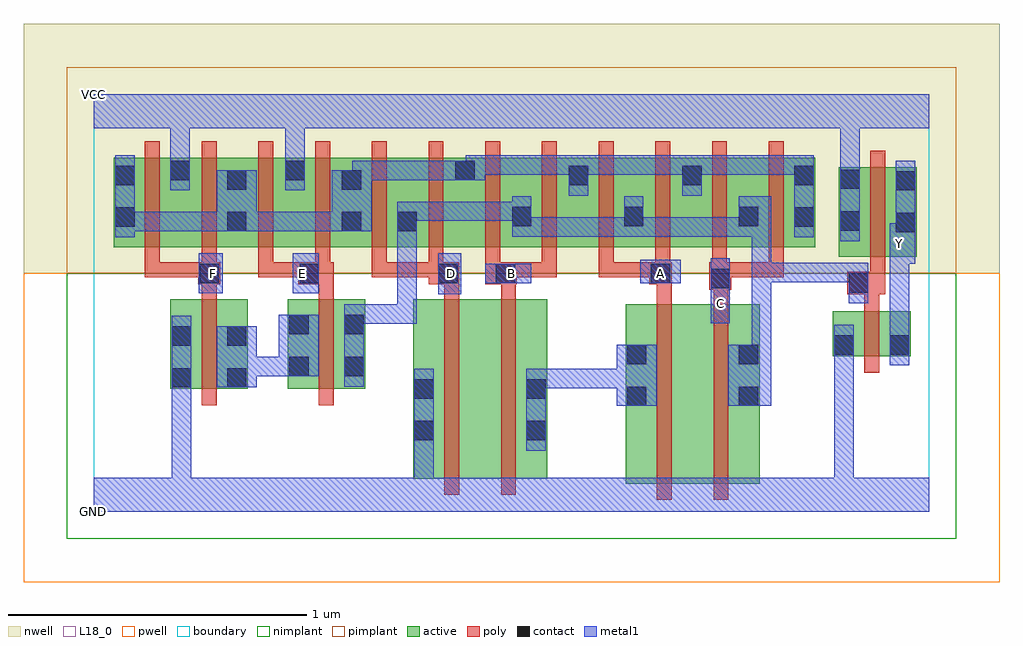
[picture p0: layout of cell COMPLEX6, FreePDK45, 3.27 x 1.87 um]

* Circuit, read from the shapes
.subckt COMPLEX6 A B C D E F GND VCC Y
M1 n1 F GND VSUBS nfet w=0.3u l=0.05u
M2 n2 E n1 VSUBS nfet w=0.3u l=0.05u
M3 n3 D GND VSUBS nfet w=0.6u l=0.05u
M4 n4 B n3 VSUBS nfet w=0.6u l=0.05u
M5 n5 A n4 VSUBS nfet w=0.6u l=0.05u
M6 n2 C n5 VSUBS nfet w=0.6u l=0.05u
M7 Y n2 GND VSUBS nfet w=0.15u l=0.05u
M8 VCC F n6 n7 pfet w=0.3u l=0.05u m=2
M9 VCC E n6 n7 pfet w=0.3u l=0.05u m=2
M10 n2 D n6 n7 pfet w=0.3u l=0.05u m=2
M11 n2 B n6 n7 pfet w=0.3u l=0.05u m=2
M12 n2 A n6 n7 pfet w=0.3u l=0.05u m=2
M13 n2 C n6 n7 pfet w=0.3u l=0.05u m=2
M14 Y n2 VCC n7 pfet w=0.3u l=0.05u
.ends

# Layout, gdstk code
import gdstk
lib = gdstk.Library(unit=1e-6, precision=1e-09)
def R(c, l, rs):  # rectangles x0, y0, x1, y1
    for r in rs: c.add(gdstk.rectangle(r[:2], r[2:], *l))
def A(c, l, x, y, w, h, nx, ny, dx, dy):  # array of equal rectangles
    R(c, l, [(x+i*dx, y+j*dy, x+i*dx+w, y+j*dy+h) for i in range(nx) for j in range(ny)])
active = (1, 0)
pwell = (2, 0)
nwell = (3, 0)
nimplant = (4, 0)
pimplant = (5, 0)
poly = (9, 0)
contact = (10, 0)
metal1 = (11, 0)
L18_0 = (18, 0)
boundary = (235, 0)

complex6 = lib.new_cell('COMPLEX6')
A(complex6, active, 0.067, 0.887, 0.26, 0.3, 3, 1, 0.76, 0)
R(complex6, active, [(1.782,0.095,2.007,0.695), (2.007,0.095,2.232,0.695), (1.07,0.112,1.295,0.712), (1.295,0.112,1.52,0.712), (1.07,0.145,1.145,0.712), (1.445,0.145,1.52,0.712), (1.782,0.145,1.887,0.695), (2.157,0.145,2.232,0.695), (0.257,0.412,0.517,0.712), (0.257,0.412,0.332,0.712), (0.442,0.412,0.517,0.712), (0.65,0.412,0.91,0.712), (0.65,0.445,0.725,0.712), (0.835,0.445,0.91,0.712), (2.477,0.522,2.552,0.672), (2.477,0.522,2.737,0.672), (2.662,0.522,2.737,0.672), (2.497,0.855,2.757,1.155), (2.497,0.855,2.572,1.155), (2.682,0.855,2.757,1.155), (0.067,0.887,0.142,1.187), (0.252,0.887,0.517,1.187), (0.442,0.887,0.517,1.167), (0.442,0.887,0.712,1.187), (0.637,0.887,0.902,1.187), (0.827,0.887,0.902,1.167), (1.012,0.887,1.282,1.187), (1.207,0.887,1.472,1.187), (1.397,0.887,1.662,1.187), (1.772,0.887,2.042,1.187), (1.967,0.887,2.232,1.187), (2.157,0.887,2.417,1.187), (2.342,0.887,2.417,1.167), (1.012,0.935,1.087,1.07), (1.397,0.952,1.472,1.07), (1.772,0.952,1.847,1.07), (2.157,0.952,2.232,1.07), (0.252,0.995,0.327,1.187), (0.637,0.995,0.712,1.187), (1.207,0.995,1.282,1.187), (1.587,0.995,1.662,1.167), (1.967,0.995,2.042,1.167)])
R(complex6, pwell, [(-0.235,-0.235,3.035,0.8)])
R(complex6, nwell, [(-0.235,0.8,3.035,1.635)])
R(complex6, nimplant, [(-0.09,-0.09,2.89,0.8)])
R(complex6, pimplant, [(-0.09,0.8,2.89,1.49)])
A(complex6, poly, 0.172, 0.787, 0.05, 0.095, 12, 1, 0.19, 0)
A(complex6, poly, 0.172, 0.832, 0.05, 0.41, 12, 1, 0.19, 0)
R(complex6, poly, [(1.887,0.04,1.937,0.75), (2.077,0.04,2.127,0.75), (1.175,0.057,1.225,0.767), (1.365,0.057,1.415,0.767), (0.362,0.357,0.412,0.767), (0.755,0.357,0.805,0.767), (2.582,0.467,2.632,0.727), (2.582,0.677,2.632,0.78), (1.887,0.7,1.937,0.812), (2.077,0.7,2.127,0.795), (0.362,0.717,0.412,0.812), (0.755,0.717,0.805,0.812), (1.175,0.717,1.225,0.812), (1.365,0.717,1.415,0.812), (2.525,0.73,2.652,0.805), (2.062,0.745,2.137,0.837), (2.602,0.755,2.652,0.85), (0.35,0.762,0.425,0.837), (0.685,0.762,0.805,0.837), (1.122,0.762,1.225,0.837), (1.312,0.762,1.417,0.837), (1.862,0.762,1.937,0.837), (0.172,0.787,0.222,0.837), (0.172,0.787,0.222,0.837), (0.172,0.787,0.222,0.837), (0.172,0.787,0.4,0.837), (0.552,0.787,0.602,0.837), (0.552,0.787,0.735,0.837), (0.685,0.787,0.735,0.837), (0.685,0.787,0.735,0.837), (0.932,0.787,0.982,0.837), (0.932,0.787,0.982,0.837), (0.932,0.787,0.982,0.837), (0.932,0.787,1.172,0.837), (1.367,0.787,1.552,0.837), (1.502,0.787,1.552,0.837), (1.502,0.787,1.552,0.837), (1.502,0.787,1.552,0.837), (1.692,0.787,1.742,0.837), (1.692,0.787,1.742,0.837), (1.692,0.787,1.742,0.837), (1.692,0.787,1.912,0.837), (2.087,0.787,2.312,0.837), (2.262,0.787,2.312,0.837), (2.262,0.787,2.312,0.837), (2.262,0.787,2.312,0.837), (2.602,0.8,2.652,1.21)])
R(complex6, contact, [(1.075,0.24,1.14,0.305), (1.45,0.24,1.515,0.305), (1.787,0.355,1.852,0.42), (2.162,0.355,2.227,0.42), (1.075,0.38,1.14,0.445), (1.45,0.38,1.515,0.445), (0.262,0.417,0.327,0.482), (0.447,0.417,0.512,0.482), (0.655,0.455,0.72,0.52), (0.84,0.455,0.905,0.52), (1.787,0.495,1.852,0.56), (2.162,0.495,2.227,0.56), (2.482,0.527,2.547,0.592), (2.667,0.527,2.732,0.592), (0.262,0.557,0.327,0.622), (0.447,0.557,0.512,0.622), (0.655,0.595,0.72,0.66), (0.84,0.595,0.905,0.66), (2.53,0.735,2.595,0.8), (2.067,0.75,2.132,0.815), (0.355,0.767,0.42,0.832), (0.69,0.767,0.755,0.832), (1.155,0.767,1.22,0.832), (1.347,0.767,1.412,0.832), (1.867,0.767,1.932,0.832), (2.687,0.937,2.752,1.002), (0.447,0.94,0.512,1.005), (0.832,0.94,0.897,1.005), (1.017,0.94,1.082,1.005), (2.502,0.942,2.567,1.007), (0.072,0.955,0.137,1.02), (2.347,0.955,2.412,1.02), (1.402,0.957,1.467,1.022), (1.777,0.957,1.842,1.022), (2.162,0.957,2.227,1.022), (2.687,1.077,2.752,1.142), (0.447,1.08,0.512,1.145), (0.832,1.08,0.897,1.145), (2.502,1.082,2.567,1.147), (0.072,1.095,0.137,1.16), (1.592,1.095,1.657,1.16), (1.972,1.095,2.037,1.16), (2.347,1.095,2.412,1.16), (0.257,1.112,0.322,1.177), (0.642,1.112,0.707,1.177), (1.212,1.112,1.277,1.177)])
R(complex6, metal1, [(0,0,2.8,0.115), (0.262,0.05,0.327,0.115), (0.262,0.05,0.327,0.115), (0.262,0.05,0.327,0.115), (0.262,0.05,0.327,0.115), (0.262,0.05,0.327,0.115), (0.262,0.05,0.327,0.115), (0.262,0.05,0.327,0.447), (1.075,0.05,1.14,0.27), (2.482,0.05,2.547,0.115), (2.482,0.05,2.547,0.115), (2.482,0.05,2.547,0.115), (2.482,0.05,2.547,0.115), (2.482,0.05,2.547,0.557), (1.075,0.205,1.14,0.27), (1.075,0.205,1.14,0.27), (1.075,0.205,1.14,0.48), (1.45,0.205,1.515,0.48), (1.752,0.355,1.887,0.56), (2.127,0.355,2.27,0.56), (0.262,0.382,0.327,0.657), (1.45,0.415,1.515,0.48), (1.45,0.415,1.515,0.48), (1.45,0.415,1.68,0.48), (1.615,0.415,1.68,0.48), (1.615,0.415,1.68,0.48), (1.615,0.415,1.68,0.48), (1.615,0.415,1.817,0.48), (0.412,0.417,0.547,0.622), (0.84,0.42,0.905,0.695), (0.482,0.455,0.547,0.52), (0.482,0.455,0.547,0.52), (0.482,0.455,0.685,0.52), (0.62,0.455,0.755,0.66), (2.482,0.492,2.547,0.557), (2.482,0.492,2.547,0.557), (2.482,0.492,2.547,0.557), (2.482,0.492,2.547,0.557), (2.482,0.492,2.547,0.627), (2.667,0.492,2.732,0.627), (2.205,0.495,2.27,0.835), (2.667,0.562,2.732,0.897), (0.84,0.63,0.905,0.695), (0.84,0.63,0.905,0.695), (0.84,0.63,0.905,0.695), (0.84,0.63,0.905,0.695), (0.84,0.63,1.082,0.695), (1.017,0.63,1.082,0.695), (1.017,0.63,1.082,0.97), (2.067,0.632,2.132,0.85), (2.53,0.7,2.595,0.835), (1.155,0.73,1.232,0.867), (0.352,0.732,0.432,0.867), (0.667,0.732,0.755,0.867), (1.312,0.767,1.467,0.832), (1.832,0.767,1.967,0.845), (2.205,0.77,2.27,0.835), (2.205,0.77,2.27,0.835), (2.205,0.77,2.27,0.835), (2.205,0.77,2.41,0.835), (2.205,0.77,2.27,0.987), (2.345,0.77,2.41,0.835), (2.345,0.77,2.41,0.835), (2.345,0.77,2.41,0.835), (2.345,0.77,2.595,0.835), (2.667,0.832,2.752,0.967), (2.687,0.902,2.752,0.967), (2.687,0.902,2.752,1.177), (1.017,0.905,1.082,1.04), (2.502,0.907,2.567,1.182), (0.072,0.92,0.137,1.195), (2.347,0.92,2.412,1.195), (1.402,0.922,1.467,0.987), (1.402,0.922,1.467,0.987), (1.402,0.922,1.467,1.057), (1.402,0.922,1.652,0.987), (1.587,0.922,1.652,0.987), (1.587,0.922,1.652,0.987), (1.587,0.922,1.652,0.987), (1.587,0.922,1.842,0.987), (1.777,0.922,1.842,0.987), (1.777,0.922,1.842,0.987), (1.777,0.922,1.842,1.057), (1.777,0.922,1.98,0.987), (1.915,0.922,1.98,0.987), (1.915,0.922,1.98,0.987), (1.915,0.922,1.98,0.987), (1.915,0.922,2.227,0.987), (2.162,0.922,2.27,1.057), (0.072,0.94,0.137,1.005), (0.072,0.94,0.137,1.005), (0.072,0.94,0.317,1.005), (0.252,0.94,0.317,1.005), (0.252,0.94,0.317,1.005), (0.252,0.94,0.317,1.005), (0.252,0.94,0.477,1.005), (0.412,0.94,0.547,1.145), (0.482,0.94,0.547,1.005), (0.482,0.94,0.547,1.005), (0.482,0.94,0.725,1.005), (0.66,0.94,0.725,1.005), (0.66,0.94,0.725,1.005), (0.66,0.94,0.725,1.005), (0.66,0.94,0.862,1.005), (0.797,0.94,0.932,1.145), (1.017,0.975,1.082,1.04), (1.017,0.975,1.082,1.04), (1.017,0.975,1.242,1.04), (1.177,0.975,1.242,1.04), (1.177,0.975,1.242,1.04), (1.177,0.975,1.242,1.04), (1.177,0.975,1.467,1.04), (1.592,1.06,1.657,1.195), (1.972,1.06,2.037,1.195), (0.257,1.077,0.322,1.212), (0.642,1.077,0.707,1.212), (0.867,1.08,0.932,1.177), (0.867,1.112,0.932,1.177), (0.867,1.112,0.932,1.177), (0.867,1.112,0.932,1.177), (0.867,1.112,1.105,1.177), (1.04,1.112,1.105,1.177), (1.04,1.112,1.105,1.177), (1.04,1.112,1.105,1.177), (1.04,1.112,1.242,1.177), (1.177,1.112,1.312,1.177), (1.247,1.112,1.312,1.177), (1.247,1.112,1.312,1.195), (2.502,1.117,2.567,1.35), (1.247,1.13,1.45,1.195), (1.385,1.13,1.45,1.195), (1.385,1.13,1.45,1.195), (1.385,1.13,1.45,1.195), (1.385,1.13,1.657,1.195), (1.592,1.13,1.657,1.195), (1.592,1.13,1.657,1.195), (1.592,1.13,1.817,1.195), (1.752,1.13,1.817,1.195), (1.752,1.13,1.817,1.195), (1.752,1.13,1.817,1.195), (1.752,1.13,2.037,1.195), (1.972,1.13,2.037,1.195), (1.972,1.13,2.037,1.195), (1.972,1.13,2.27,1.195), (2.205,1.13,2.27,1.195), (2.205,1.13,2.27,1.195), (2.205,1.13,2.27,1.195), (2.205,1.13,2.412,1.195), (0.257,1.147,0.322,1.35), (0.642,1.147,0.707,1.212), (0.642,1.147,0.707,1.212), (0.642,1.147,0.707,1.35), (0,1.285,2.8,1.4), (0.257,1.285,0.322,1.35), (0.257,1.285,0.322,1.35), (2.502,1.285,2.567,1.35), (2.502,1.285,2.567,1.35)])
R(complex6, L18_0, [(0,0,2.8,0.115), (0.262,0.05,0.327,0.115), (0.262,0.05,0.327,0.115), (0.262,0.05,0.327,0.115), (0.262,0.05,0.327,0.115), (0.262,0.05,0.327,0.115), (0.262,0.05,0.327,0.115), (0.262,0.05,0.327,0.447), (1.075,0.05,1.14,0.27), (2.482,0.05,2.547,0.115), (2.482,0.05,2.547,0.115), (2.482,0.05,2.547,0.115), (2.482,0.05,2.547,0.115), (2.482,0.05,2.547,0.557), (1.075,0.205,1.14,0.27), (1.075,0.205,1.14,0.27), (1.075,0.205,1.14,0.48), (0.262,0.382,0.327,0.657), (2.482,0.492,2.547,0.557), (2.482,0.492,2.547,0.557), (2.482,0.492,2.547,0.557), (2.482,0.492,2.547,0.557), (2.482,0.492,2.547,0.627), (2.667,0.492,2.732,0.627), (2.667,0.562,2.732,0.897), (2.067,0.632,2.132,0.85), (2.067,0.667,2.132,0.732), (1.155,0.73,1.232,0.867), (0.352,0.732,0.432,0.867), (0.667,0.732,0.755,0.867), (0.367,0.767,0.432,0.832), (0.667,0.767,0.732,0.832), (1.167,0.767,1.232,0.832), (1.312,0.767,1.467,0.832), (1.367,0.767,1.432,0.832), (1.832,0.767,1.967,0.845), (1.867,0.767,1.932,0.832), (2.667,0.832,2.752,0.967), (2.667,0.867,2.732,0.932), (2.687,0.902,2.752,0.967), (2.687,0.902,2.752,1.177), (2.502,0.907,2.567,1.182), (0.257,1.077,0.322,1.212), (0.642,1.077,0.707,1.212), (2.502,1.117,2.567,1.35), (0.257,1.147,0.322,1.35), (0.642,1.147,0.707,1.212), (0.642,1.147,0.707,1.212), (0.642,1.147,0.707,1.35), (0,1.285,2.8,1.4), (0.257,1.285,0.322,1.35), (0.257,1.285,0.322,1.35), (2.502,1.285,2.567,1.35), (2.502,1.285,2.567,1.35)])
R(complex6, boundary, [(0,0,2.8,1.4)])
complex6.add(gdstk.Label('A', (1.9,0.8), layer=11, texttype=0))
complex6.add(gdstk.Label('B', (1.4,0.8), layer=11, texttype=0))
complex6.add(gdstk.Label('C', (2.1,0.7), layer=11, texttype=0))
complex6.add(gdstk.Label('D', (1.2,0.8), layer=11, texttype=0))
complex6.add(gdstk.Label('E', (0.7,0.8), layer=11, texttype=0))
complex6.add(gdstk.Label('F', (0.4,0.8), layer=11, texttype=0))
complex6.add(gdstk.Label('Y', (2.7,0.9), layer=11, texttype=0))
complex6.add(gdstk.Label('VCC', (0,1.4), layer=11, texttype=0))
complex6.add(gdstk.Label('GND', (0,0), layer=11, texttype=0))

lib.write_gds('COMPLEX6.gds')
